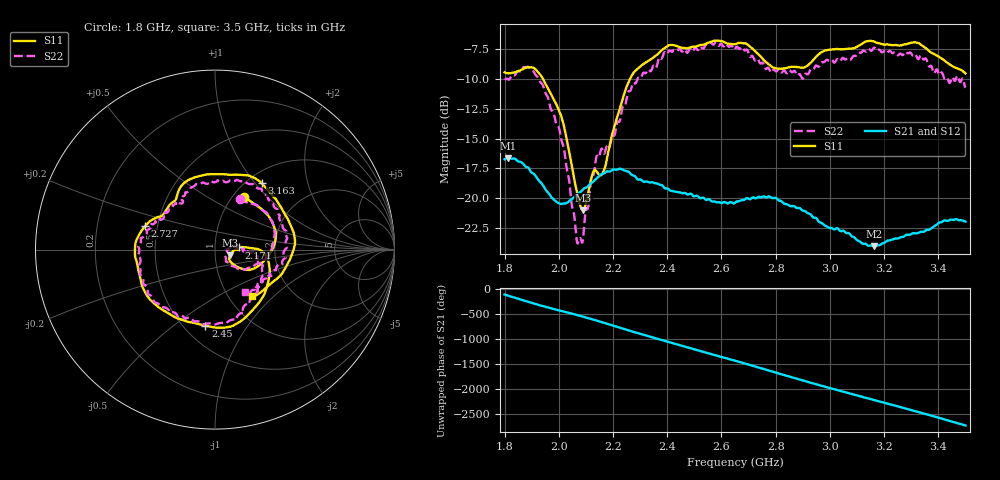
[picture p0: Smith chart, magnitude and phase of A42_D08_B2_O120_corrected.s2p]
! Created with skrf 1.9.0 (http://scikit-rf.org).
# Hz S RI R 50.0
!freq ReS11 ImS11 ReS21 ImS21 ReS12 ImS12 ReS22 ImS22
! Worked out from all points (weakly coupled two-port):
!   1601 points, 1.8 GHz to 3.5 GHz, reference 50 ohm
!   highest |S21| = -16.63 dB at 1.812 GHz (marker M1); lowest = -24.0 dB at 3.162 GHz (marker M2)
!   lowest |S11| = -21.0 dB at 2.09 GHz (marker M3), VSWR 1.20, Z = 58.9 - j3.88 ohm
!   |S11| at or under -10 dB: 1.942 GHz to 2.263 GHz (321.4 MHz wide, 15.3 % of centre)
!   |S22| runs from -23.8 to -6.9 dB; largest |S21 - S12| = 0.0028
!   S11 on the Smith chart (normalised r, x): 1.8 GHz: 1.13, +0.75; 2.171 GHz: 1.31, +0.03; 2.45 GHz: 0.63, -0.66; 2.727 GHz: 0.43, +0.13; 3.163 GHz: 1.16, +1.08; 3.5 GHz: 1.28, -0.75
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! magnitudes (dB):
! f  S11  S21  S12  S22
! 1.8 GHz  -9.5  -16.7  -16.7  -10.1
! 1.812 GHz  -9.5  -16.6  -16.6  -10.0
! 1.886 GHz  -9.0  -17.4  -17.5  -9.0
! 1.941 GHz  -10.0  -18.9  -18.9  -10.5
! 2.011 GHz  -13.3  -20.4  -20.4  -15.3
! 2.066 GHz  -19.4  -19.7  -19.7  -23.4
! 2.084 GHz  -20.9  -19.4  -19.4  -23.6
! 2.09 GHz  -21.0  -19.2  -19.3  -23.2
! 2.137 GHz  -17.7  -18.4  -18.4  -16.7
! 2.171 GHz  -17.4  -17.8  -17.9  -16.1
! 2.261 GHz  -10.1  -17.8  -17.9  -11.0
! 2.367 GHz  -7.9  -18.8  -18.8  -8.4
! 2.45 GHz  -7.4  -19.5  -19.5  -7.6
! 2.65 GHz  -7.1  -20.4  -20.3  -7.5
! 2.727 GHz  -7.7  -20.0  -20.0  -8.5
! 2.806 GHz  -9.1  -20.0  -20.1  -9.3
! 2.934 GHz  -8.6  -21.5  -21.5  -9.2
! 3.162 GHz  -6.9  -24.0  -24.0  -7.4
! 3.163 GHz  -6.9  -24.0  -24.0  -7.4
! 3.217 GHz  -7.1  -23.5  -23.5  -7.7
! 3.325 GHz  -7.0  -22.9  -22.9  -8.3
! 3.5 GHz  -9.6  -21.9  -21.9  -10.7
